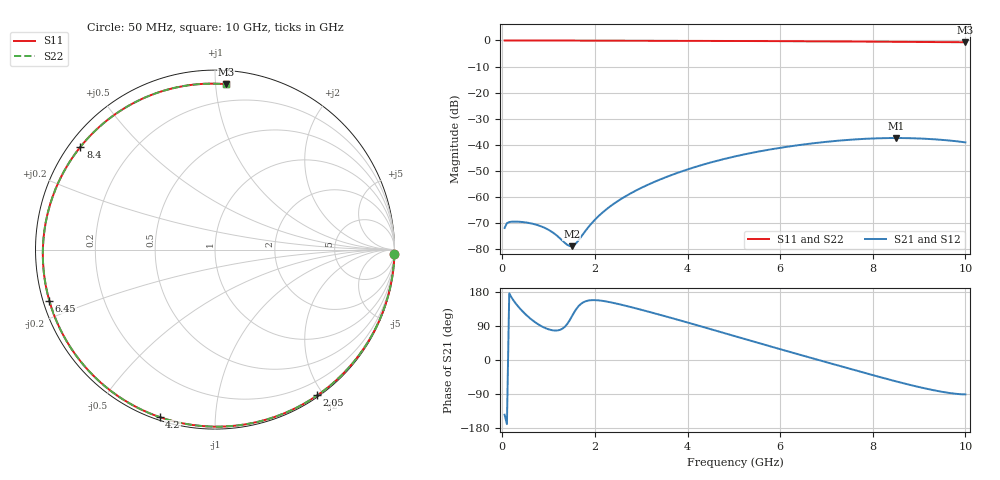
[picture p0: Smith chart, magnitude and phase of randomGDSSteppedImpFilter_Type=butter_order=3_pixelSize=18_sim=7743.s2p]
! freq	dB(S11)	phase(S11)	dB(S12)	phase(S12)
!  dB(S21)	phase(S21)	dB(S22)	phase(S22)
!S-par simulation data
#  GHz  S  DB  R 50
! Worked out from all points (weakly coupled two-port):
!   200 points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, 50 MHz to 10 GHz, reference 50 ohm
!   highest |S21| = -37.43 dB at 8.5 GHz (marker M1); lowest = -78.9 dB at 1.5 GHz (marker M2)
!   lowest |S11| = -0.7 dB at 10 GHz (marker M3), VSWR 25.11, Z = 4.26 + j53.2 ohm
!   |S11| at or under -10 dB: nowhere
!   |S22| runs from -0.7 to 0.0 dB; largest |S21 - S12| = 0
!   S11 on the Smith chart (normalised r, x): 50 MHz: 0, -83; 2.05 GHz: 0.02, -1.92; 4.2 GHz: 0.01, -0.72; 6.45 GHz: 0.02, -0.15; 8.4 GHz: 0.03, +0.34; 10 GHz: 0.09, +1.06
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0.05  -0.00 -1.4  -71.94 -144.4  -71.94 -144.4  -0.00 -1.4
0.1  -0.00 -2.8  -70.11 -169.4  -70.11 -169.4  -0.00 -2.8
0.2  -0.00 -5.5  -69.53 165.0  -69.53 165.0  -0.00 -5.5
0.7  -0.02 -19.1  -70.51 100.4  -70.51 100.4  -0.02 -19.2
1  -0.03 -27.2  -72.67 81.0  -72.67 81.0  -0.03 -27.3
1.4  -0.05 -37.9  -78.37 94.7  -78.37 94.7  -0.05 -37.9
1.5  -0.05 -40.6  -78.92 114.5  -78.92 114.5  -0.05 -40.6
1.75  -0.06 -47.1  -74.14 152.3  -74.14 152.3  -0.06 -47.1
2.05  -0.07 -54.9  -67.88 157.7  -67.88 157.7  -0.07 -55.0
2.6  -0.09 -69.0  -60.43 145.0  -60.43 145.0  -0.09 -69.0
3.4  -0.12 -88.9  -53.39 119.4  -53.39 119.4  -0.12 -89.0
4.2  -0.15 -108.3  -48.36 92.0  -48.36 92.0  -0.15 -108.4
5.05  -0.20 -128.7  -44.39 61.9  -44.39 61.9  -0.20 -128.7
5.8  -0.25 -146.8  -41.77 35.5  -41.77 35.5  -0.25 -146.8
6.45  -0.30 -162.9  -40.03 13.0  -40.03 13.0  -0.30 -162.9
6.7  -0.32 -169.3  -39.48 4.4  -39.48 4.4  -0.32 -169.3
7.55  -0.41 167.9  -38.04 -24.7  -38.04 -24.7  -0.41 167.8
8.35  -0.50 144.2  -37.45 -51.5  -37.45 -51.5  -0.50 144.2
8.4  -0.51 142.7  -37.44 -53.1  -37.44 -53.1  -0.51 142.6
8.5  -0.52 139.5  -37.43 -56.3  -37.43 -56.3  -0.52 139.4
9.3  -0.61 112.4  -37.89 -79.4  -37.89 -79.4  -0.61 112.3
10  -0.69 86.2  -39.10 -90.8  -39.10 -90.8  -0.69 86.1
